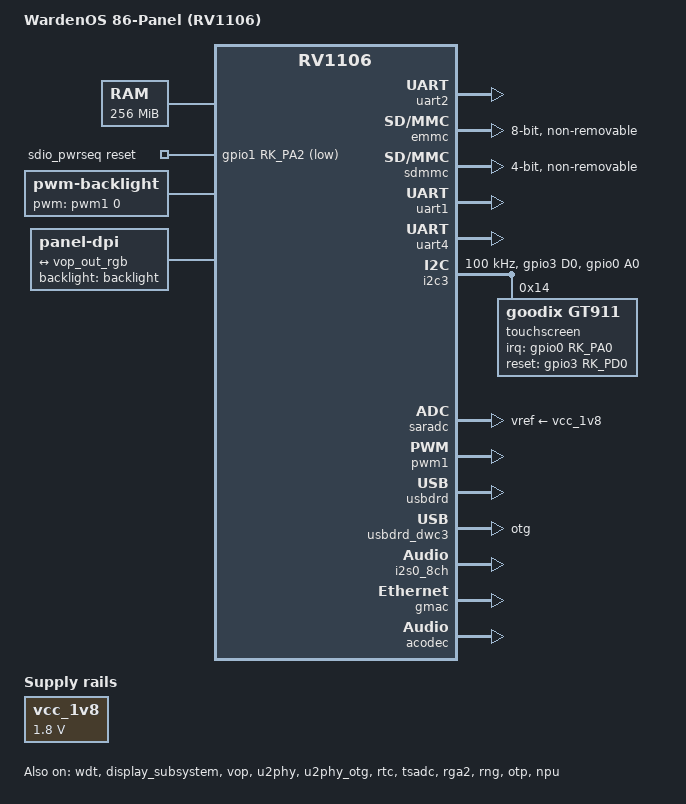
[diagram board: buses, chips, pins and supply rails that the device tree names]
// SPDX-License-Identifier: (GPL-2.0+ OR MIT)
/*
 * WardenOS 86-Panel board DT for the self-built Linux 6.18 forward-port.
 *
 * Includes the full vendor rv1106.dtsi (SoC nodes + pinctrl + gpio + dmac), then
 * enables only what our wall-HMI needs — no camera/ISP/CSI. Grows one driver
 * batch at a time toward full parity with the 5.10 kernel (DRIVER-PARITY.md).
 */
/dts-v1/;

#include <dt-bindings/display/media-bus-format.h>
#include "rv1106.dtsi"

/ {
	model = "WardenOS 86-Panel (RV1106)";
	compatible = "rockchip,rv1106-warden", "rockchip,rv1106";

	chosen {
		stdout-path = "serial2:115200n8";
		bootargs = "earlycon=uart8250,mmio32,0xff4c0000 console=ttyS2,115200n8 earlyprintk rootwait";
	};

	memory@0 {
		device_type = "memory";
		reg = <0x00000000 0x10000000>; /* 256 MiB */
	};

	/* --- M5: AIC8800DC wifi/BT power sequencing --- */
	sdio_pwrseq: sdio-pwrseq {
		compatible = "mmc-pwrseq-simple";
		pinctrl-names = "default";
		reset-gpios = <&gpio1 RK_PA2 GPIO_ACTIVE_LOW>;
	};

	/* SARADC voltage reference (1.8V) — the driver reads this for scale;
	   without it saradc probes -22 (regulator_get_voltage on the dummy). */
	vcc_1v8: vcc-1v8 {
		compatible = "regulator-fixed";
		regulator-name = "vcc_1v8";
		regulator-always-on;
		regulator-boot-on;
		regulator-min-microvolt = <1800000>;
		regulator-max-microvolt = <1800000>;
	};
};

/* --- console --- */
&uart2 {
	status = "okay";
};

/* --- eMMC rootfs (M3) --- */
&emmc {
	bus-width = <8>;
	cap-mmc-highspeed;
	mmc-hs200-1_8v;
	non-removable;
	status = "okay";
};

/* --- M5: AIC8800DC wifi/BT SDIO (on &sdmmc, mmc@ffaa0000 — NOT &sdio) --- */
&sdmmc {
	max-frequency = <50000000>;
	bus-width = <4>;
	cap-sd-highspeed;
	cap-sdio-irq;
	keep-power-in-suspend;
	non-removable;
	rockchip,default-sample-phase = <90>;
	supports-sdio;
	mmc-pwrseq = <&sdio_pwrseq>;
	pinctrl-names = "default";
	pinctrl-0 = <&sdmmc0_clk &sdmmc0_cmd &sdmmc0_bus4 &sdmmc0_det>;
	status = "okay";
};

/* --- batch 1: mainline peripherals (wire DT + config) --- */
&uart1 {
	status = "okay";
};

&uart4 {
	status = "okay";
};

/* --- GT911 capacitive touch on i2c3 (86-Panel HMI) ---
 * The stock rootfs ships a goodix.ko built for the 5.10 kernel; it cannot load
 * on our 6.18 (`struct module` size mismatch) so touch was dead on _b. Build
 * CONFIG_TOUCHSCREEN_GOODIX=y instead (in the config fragment) and describe the
 * GT911 here, matching the vendor 86-panel wiring: addr 0x14, IRQ GPIO0_A0
 * (edge-falling), reset GPIO3_D0 (active-low). reset-gpios + irq-gpios let the
 * mainline goodix driver run the GT911 power-on/address-select sequence. */
&i2c3 {
	status = "okay";
	clock-frequency = <100000>;
	pinctrl-names = "default";
	pinctrl-0 = <&i2c3m2_xfer &tp_rst &tp_irq>;

	touchscreen@14 {
		compatible = "goodix,gt911";
		reg = <0x14>;
		interrupt-parent = <&gpio0>;
		interrupts = <RK_PA0 IRQ_TYPE_EDGE_FALLING>;
		irq-gpios = <&gpio0 RK_PA0 GPIO_ACTIVE_HIGH>;
		reset-gpios = <&gpio3 RK_PD0 GPIO_ACTIVE_HIGH>;
	};
};

&pinctrl {
	touch {
		tp_rst: tp-rst {
			rockchip,pins = <3 RK_PD0 RK_FUNC_GPIO &pcfg_pull_up>;
		};
		tp_irq: tp-irq {
			rockchip,pins = <0 RK_PA0 RK_FUNC_GPIO &pcfg_pull_none>;
		};
	};
};

&saradc {
	vref-supply = <&vcc_1v8>;
	status = "okay";
};

&wdt {
	status = "okay";
};

/* --- M4: display (VOP + RGB → 720x720 panel + PWM backlight) --- */
&display_subsystem {
	status = "okay";
};

&vop {
	status = "okay";
	/* mainline rockchip_drm_vop requests named "ahb" + "dclk" resets that the
	 * vendor node omits; without them vop_bind fails "failed to get ahb reset". */
	resets = <&cru SRST_H_VOP>, <&cru SRST_D_VOP>;
	reset-names = "ahb", "dclk";
	/*
	 * The 18-bit parallel RGB output (lcd_clk + lcd_d0..d17 + den/hsync/vsync,
	 * 22 pins) must be muxed to the VOP's LCDC function or NO pixel data reaches
	 * the panel -> backlit-black even with a fully healthy DRM pipeline. The
	 * vendor board carried this mux as pinctrl-0 = <&lcd_pins> ON THE &rgb node;
	 * we deleted &rgb (dangling-endpoint graph cycle), which silently dropped it.
	 * Re-attach it here: the driver core auto-applies the "default" pinctrl state
	 * when the VOP probes, exactly like the pwm1 backlight pin. Same root cause
	 * as the dark backlight -- an unmuxed output pin group. */
	pinctrl-names = "default";
	pinctrl-0 = <&lcd_pins>;
};

/* mainline wires vop_out straight to the panel (no separate rgb node) */
&vop_out_rgb {
	remote-endpoint = <&panel_in_vop>;
};

&pwm1 {
	status = "okay";
	/* mainline pwm-rockchip does NOT pinctrl_select_state("active") the way
	 * the vendor 5.10 driver did; it relies on the pinctrl core auto-applying
	 * the "default" state at probe. With "active" the pin never gets muxed to
	 * PWM, so the backlight stays dark. Use "default". */
	pinctrl-names = "default";
	pinctrl-0 = <&pwm1m2_pins>;
};

/*
 * NOTE on the RGB panel init MCU (WCH CH32V003, U6, net RGB_RES = GPIO0_A1):
 * the panel controller is configured by that MCU's SPI init sequence, released
 * once by U-Boot board_init() (stock boot). The WardenOS *userspace* (identical
 * rootfs on _a and _b) also drives GPIO0_A1 as part of the panel bring-up, and
 * on stock 5.10 (_a) the panel comes up fine that way. A kernel gpio-hog here
 * FIGHTS that userspace management (two owners on the same line) and left the
 * panel black on _b, so it is deliberately NOT hogged — matching _a, where only
 * userspace touches the line.
 */

/ {
	backlight: backlight {
		compatible = "pwm-backlight";
		pwms = <&pwm1 0 100000 50000>;
		brightness-levels = <0 32 64 96 128 160 192 224 255>;
		default-brightness-level = <8>;
		status = "okay";
	};

	panel: panel {
		compatible = "panel-dpi";
		backlight = <&backlight>;
		/* the 86-Panel is an 18-bit parallel RGB (RGB666) panel; without a
		 * bus-format the RGB output width is unset and the screen stays
		 * black. Read by our panel-dpi patch (upstream ignores it). */
		bus-format = <MEDIA_BUS_FMT_RGB666_1X18>;
		/*
		 * Deliberately NO reset-gpios / reset-delay-ms on this node.
		 * RGB_RES (GPIO0_A1) resets the CH32V003 init MCU, which is
		 * released exactly once, early, by U-Boot board_init() (shared
		 * across A/B slots) so the MCU SPI-inits the NV3052 panel
		 * controller before Linux. Handing reset-gpios to panel-simple
		 * makes drm_panel_prepare() REBOOT the MCU while the VOP is
		 * scanning out -- Luckfox deleted these two properties upstream
		 * for exactly this reason (commit e2b0ffa22), and the flare-edge
		 * 5.10 board DTS documents them as "the fix", not a regression.
		 * Verified black-screen root cause was the VOP dclk polarity, not
		 * this line (see rockchip_drm_vop.c rgb_dclk_pol). backlight stays
		 * (U-Boot rockchip_panel.c reads its handle from this node).
		 */
		width-mm = <85>;
		height-mm = <85>;

		panel-timing {
			clock-frequency = <30000000>;
			hactive = <720>;
			vactive = <720>;
			hback-porch = <44>;
			hfront-porch = <46>;
			vback-porch = <18>;
			vfront-porch = <16>;
			hsync-len = <2>;
			vsync-len = <2>;
			hsync-active = <0>;
			vsync-active = <0>;
			de-active = <0>;
			pixelclk-active = <0>;
		};

		port {
			panel_in_vop: endpoint {
				remote-endpoint = <&vop_out_rgb>;
			};
		};
	};
};

/* The vendor rgb bridge node has no 6.18 driver and its dangling endpoint
 * (rgb_in_vop -> vop_out_rgb) leaves a stray graph link that fw_devlink reads
 * as a vop<->panel dependency cycle, so the VOP probes before the panel and the
 * RGB connector is never created. DELETE it outright (disabling still left the
 * endpoint in the graph) so vop_out_rgb <-> panel_in_vop is the only link. */
/delete-node/ &rgb;

/* --- sweep: USB OTG (eth0 gadget / host) via the ported inno-usb2 phy --- */
&u2phy {
	status = "okay";
};

&u2phy_otg {
	status = "okay";
};

&usbdrd {
	status = "okay";
};

&usbdrd_dwc3 {
	status = "okay";
	dr_mode = "otg";
	/* NO extcon, deliberately (tried 2026-09-01, reverted same day): our
	 * bench/router panels self-source VBUS on this port (D1 mod), so the
	 * phy's bvalid is always high and extcon pins the role to peripheral --
	 * the plugged USB NIC then never enumerates and debugfs "mode" writes
	 * are overridden. Without extcon, otg defaults to host and the role is
	 * switched at runtime per device role (router=host, client=gadget) via
	 * /sys/kernel/debug/usb/ffb00000.usb/mode -- S26usbhost's 6.18 path. */
};

/* --- sweep: RTC + thermal (tsadc) + I2S audio DAI --- */
&rtc {
	status = "okay";
};

&tsadc {
	status = "okay";
};

&i2s0_8ch {
	status = "okay";
};


&rga2 {
	status = "okay";
};

/* --- batch A: hardware RNG (trngv1, same IP as rk3588) --- */
&rng {
	compatible = "rockchip,rv1106-rng";
	status = "okay";
};

/* --- batch A: OTP / nvmem (chip id, MAC, PHY bandgap for GMAC) --- */
&otp {
	status = "okay";
};

/* --- GMAC: wired 10/100 ethernet via the on-die RMII FEPHY --- */
&gmac {
	status = "okay";
};

/* --- audio: i2s0_8ch (DAI) -> acodec (analog codec) -> speaker/headphone,
 * tied together by a simple-audio-card. Matches the vendor 86-Panel wiring
 * in rv1106-luckfox-pico-86panel-ipc.dtsi. The digital speaker modulator
 * (dsm) driver is ported and builds, but is left disabled here: the panel
 * uses the acodec path only, and the vendor board itself ships dsm
 * disabled. --- */
&acodec {
	#sound-dai-cells = <0>;
	status = "okay";
};

&dsm {
	status = "disabled";
};

/ {
	acodec_sound: acodec-sound {
		compatible = "simple-audio-card";
		simple-audio-card,name = "rv1106-acodec";
		simple-audio-card,format = "i2s";
		simple-audio-card,mclk-fs = <256>;
		simple-audio-card,cpu {
			sound-dai = <&i2s0_8ch>;
		};
		simple-audio-card,codec {
			sound-dai = <&acodec>;
		};
	};
};

/* --- HPMCU mailbox (A7 <-> RISC-V SCR1). Controller binds via the rk3368
 * fallback compatible with zero driver patch; @ff5c0000 is the HPMCU-connected
 * instance (SRST_CORE_MCU on the Linux side, MBOX_BASE 0xFF5C0000 on the MCU
 * side). M-MBOX-1 proves the controller; M-MBOX-2 adds the SCR1 echo + round-trip. */
&mailbox {
	status = "okay";
};

/* --- NPU (rknpu, ff660000). Kernel driver ported from the vendor 5.10 BSP
 * (GPL source port -- see warden-sdk/kernel/rv1106-enablement/npu/PORT-PLAN.md
 * and PORT-PROGRESS.md). compatible/reg/interrupts/clocks/resets are already
 * fully specified in rv1106.dtsi's rv1106_rknpu_config-matching npu node --
 * this is only the status flip, same pattern as every other block enabled
 * in this file. No iommus= property (this board's NPU runs non-iommu,
 * matching the 5.10 boot-log finding), no power-domains (single-rail). */
&npu {
	/* the rknpu driver requests its IRQ by name ("npu_irq"); the base dtsi
	 * node declares the interrupt but no interrupt-names, so probe fails
	 * "IRQ npu_irq not found" without this. */
	interrupt-names = "npu_irq";
	status = "okay";
};
